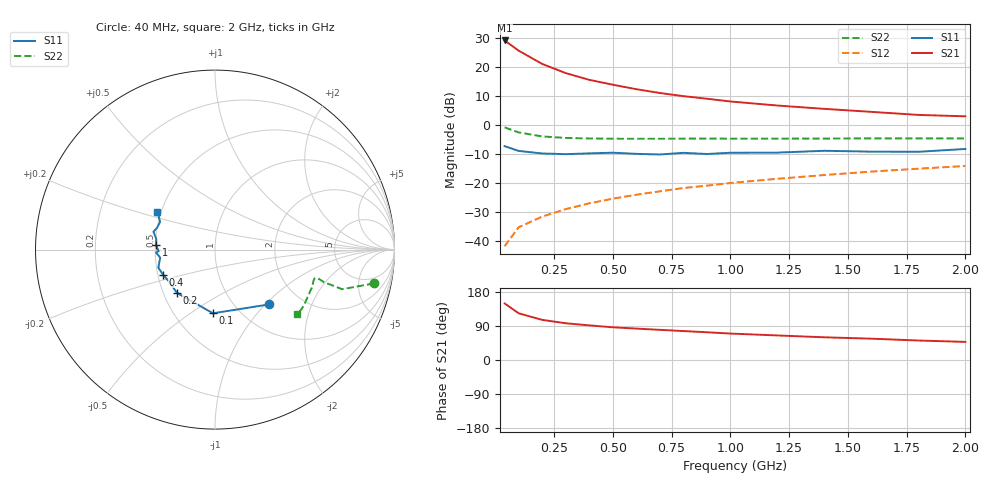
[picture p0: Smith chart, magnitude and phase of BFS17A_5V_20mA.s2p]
! Filename:  BFS17AE.S2P  Version:  2.0
! Philips part #: BFS17A  Date: May 1990
! Bias condition: Vce=5V, Ic=20mA
#  MHz  S  MA  R  50
! Freq  S11  S21  S12  S22  !GUM [dB]
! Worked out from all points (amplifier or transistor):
!   16 points, 40 MHz to 2 GHz, reference 50 ohm
!   highest |S21| = 29.2 dB at 40 MHz (marker M1)
!   |S21| within 3 dB of that: start of sweep to 90.71 MHz
!   unconditionally stable (mu >= 1): 273.9 MHz to 1.896 GHz
!   at 200 MHz: K = 0.90, MSG = 26.4 dB, |S12| = -31.7 dB
!   at 800 MHz: K = 1.10, MAG = 13.9 dB, |S12| = -21.8 dB
!   at 2 GHz: K = 0.95, MSG = 8.6 dB, |S12| = -14.2 dB
!   S11 on the Smith chart (normalised r, x): 40 MHz: 1.40, -1.05; 100 MHz: 0.76, -0.62; 200 MHz: 0.59, -0.32; 400 MHz: 0.53, -0.17; 1 GHz: 0.50, +0.03; 2 GHz: 0.48, +0.24
40  0.429 -45.4  28.89 149.3  0.008 68.0  0.906 -12.0
100  0.355 -91.8  19.2 123.2  0.017 62.0  0.742 -17.3
200  0.321 -131.3  11.34 105.9  0.026 67.9  0.632 -16.6
300  0.312 -145.1  7.873 96.9  0.035 71.2  0.596 -15.6
400  0.322 -154.3  6.023 91.4  0.044 73.4  0.583 -15.8
500  0.331 -162.4  4.965 86.3  0.053 74.5  0.577 -16.2
600  0.316 -168.2  4.149 82.9  0.062 74.9  0.576 -17.4
700  0.308 -171.4  3.568 79.6  0.071 77.3  0.576 -18.5
800  0.329 -177.2  3.147 76.4  0.081 77.6  0.579 -19.9
900  0.314 -178.4  2.84 73.2  0.089 78.1  0.581 -21.2
1000  0.33 175.6  2.544 69.8  0.099 78.9  0.579 -22.5
1200  0.332 170.0  2.166 64.8  0.117 79.2  0.579 -25.3
1400  0.357 163.8  1.896 59.9  0.136 79.2  0.581 -28.9
1600  0.345 159.3  1.682 56.3  0.156 80.1  0.585 -31.7
1800  0.343 153.1  1.49 51.4  0.175 80.1  0.585 -35.0
2000  0.384 146.7  1.408 47.8  0.195 79.6  0.583 -38.3
